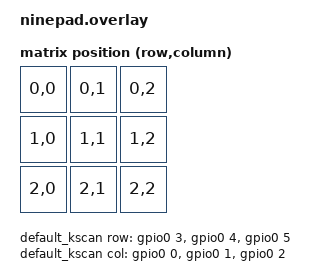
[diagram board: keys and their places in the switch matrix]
#include <dt-bindings/zmk/matrix_transform.h>

/ {
    chosen {
        zmk,kscan = &default_kscan;
        zmk,matrix_transform = &default_transform;
        /delete-property/ zephyr,console;
        /delete-property/ zephyr,shell-uart;
    };

    default_kscan: kscan {
        compatible = "zmk,kscan-gpio-matrix";
        label = "default_kscan";
        diode-direction = "col2row";

        col-gpios
            = <&gpio0 0 GPIO_ACTIVE_HIGH>
            , <&gpio0 1 GPIO_ACTIVE_HIGH>
            , <&gpio0 2 GPIO_ACTIVE_HIGH>
            ;

        row-gpios
            = <&gpio0 3 (GPIO_ACTIVE_HIGH | GPIO_PULL_DOWN)>
            , <&gpio0 4 (GPIO_ACTIVE_HIGH | GPIO_PULL_DOWN)>
            , <&gpio0 5 (GPIO_ACTIVE_HIGH | GPIO_PULL_DOWN)>
            ;
    };

    default_transform: matrix_transform {
        compatible = "zmk,matrix-transform";
        columns = <3>;
        rows = <3>;
        map = <
            RC(0,0) RC(0,1) RC(0,2)
            RC(1,0) RC(1,1) RC(1,2)
            RC(2,0) RC(2,1) RC(2,2)
        >;
    };
};

